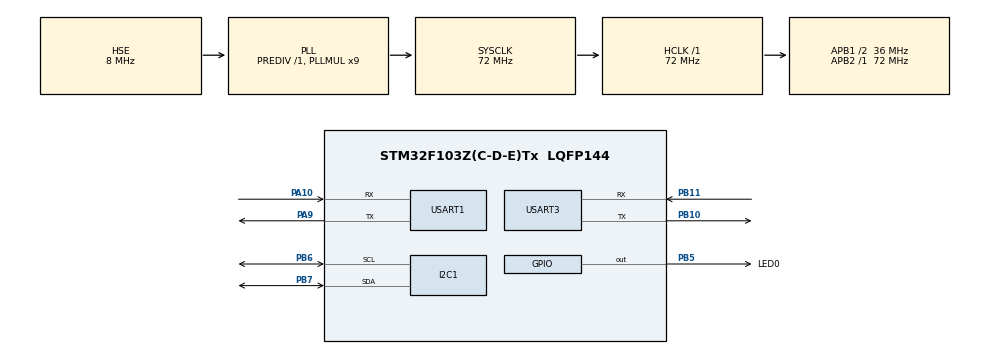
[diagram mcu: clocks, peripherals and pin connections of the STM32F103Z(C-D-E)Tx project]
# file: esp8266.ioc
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I2C1.I2C_Mode=I2C_Fast
Mcu.Family=STM32F1
Mcu.Name=STM32F103Z(C-D-E)Tx
Mcu.Package=LQFP144
NVIC.PriorityGroup=NVIC_PRIORITYGROUP_4
NVIC.USART1_IRQn=true\:0\:0\:false\:false\:true\:true\:true\:true
NVIC.USART3_IRQn=true\:0\:0\:false\:false\:true\:true\:true\:true
OSC_IN.Mode=HSE-External-Oscillator
OSC_IN.Signal=RCC_OSC_IN
OSC_OUT.Mode=HSE-External-Oscillator
OSC_OUT.Signal=RCC_OSC_OUT
PA10.Mode=Asynchronous
PA10.Signal=USART1_RX
PA13.Mode=Serial_Wire
PA13.Signal=SYS_JTMS-SWDIO
PA14.Mode=Serial_Wire
PA14.Signal=SYS_JTCK-SWCLK
PA9.Mode=Asynchronous
PA9.Signal=USART1_TX
PB10.Mode=Asynchronous
PB10.Signal=USART3_TX
PB11.Mode=Asynchronous
PB11.Signal=USART3_RX
PB5.GPIO_Label=LED0
PB5.GPIO_PuPd=GPIO_PULLUP
PB5.GPIO_Speed=GPIO_SPEED_FREQ_HIGH
PB5.PinState=GPIO_PIN_SET
PB5.Signal=GPIO_Output
PB6.Mode=I2C
PB6.Signal=I2C1_SCL
PB7.Mode=I2C
PB7.Signal=I2C1_SDA
ProjectManager.HeapSize=0x200
ProjectManager.StackSize=0x400
ProjectManager.TargetToolchain=Makefile
RCC.AHBFreq_Value=72000000
RCC.APB1CLKDivider=RCC_HCLK_DIV2
RCC.APB1Freq_Value=36000000
RCC.APB1TimFreq_Value=72000000
RCC.APB2Freq_Value=72000000
RCC.APB2TimFreq_Value=72000000
RCC.HCLKFreq_Value=72000000
RCC.PLLMUL=RCC_PLL_MUL9
RCC.PLLSourceVirtual=RCC_PLLSOURCE_HSE
RCC.SYSCLKFreq_VALUE=72000000
RCC.SYSCLKSource=RCC_SYSCLKSOURCE_PLLCLK
RCC.USBFreq_Value=72000000
USART1.VirtualMode=VM_ASYNC
USART3.VirtualMode=VM_ASYNC
board=custom

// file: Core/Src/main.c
/* USER CODE BEGIN Header */
/**
 ******************************************************************************
 * @file           : main.c
 * @brief          : Main program body
 ******************************************************************************
 * @attention
 *
 * Copyright (c) 2025 STMicroelectronics.
 * All rights reserved.
 *
 * This software is licensed under terms that can be found in the LICENSE file
 * in the root directory of this software component.
 * If no LICENSE file comes with this software, it is provided AS-IS.
 *
 ******************************************************************************
 */
/* USER CODE END Header */
#include "main.h"
#include "i2c.h"
#include "usart.h"
#include "gpio.h"

/* USER CODE BEGIN PTD */
volatile uint16_t command_index = 0;
/* USER CODE END PTD */

void SystemClock_Config(void);

/* USER CODE BEGIN 0 */
void uart3_send(const char *data)
{
  HAL_UART_Transmit(&huart3, (uint8_t *)data, strlen(data), HAL_MAX_DELAY);
}

void handle_uart3_response()
{
  static uint16_t last_head = 0;
  static char temp_buffer[256];
  static int temp_pos = 0;

  static int expected_length = -1; // -1表示没开始接收
  static char tcp_payload[128];
  static int tcp_payload_pos = 0;

  while (last_head != uart3_rx_head)
  {
    char ch = uart3_rx_buffer[last_head++];
    if (last_head >= UART3_RX_BUFFER_SIZE)
      last_head = 0;

    HAL_UART_Transmit(&huart1, (uint8_t *)&ch, 1, 10); // 原样转发

    // 收集到临时缓存
    if (temp_pos < sizeof(temp_buffer) - 1)
    {
      temp_buffer[temp_pos++] = ch;
      temp_buffer[temp_pos] = '\0';
    }
    else
    {
      temp_pos = 0;
    }

    // 如果还没识别出+IPD
    if (expected_length == -1)
    {
      char *ipd_ptr = strstr(temp_buffer, "+IPD,");
      if (ipd_ptr)
      {
        // 查找冒号
        char *colon = strchr(ipd_ptr, ':');
        if (colon)
        {
          // 解析长度字段
          int len = 0;
          sscanf(ipd_ptr + 5, "%d", &len);

          expected_length = len;
          tcp_payload_pos = 0;

          // 如果冒号后已经带了部分数据
          // int already_have = temp_pos - (colon - temp_buffer + 1);
          // if (already_have > 0)
          // {
          //   for (int i = 0; i < already_have && tcp_payload_pos < sizeof(tcp_payload) - 1; i++)
          //   {
          //     tcp_payload[tcp_payload_pos++] = colon[1 + i];
          //   }
          // }
        }
      }
    }
    else
    {
      // 正在接收数据正文
      if (tcp_payload_pos < expected_length)
      {
        tcp_payload[tcp_payload_pos++] = ch;
      }

      // 收满了
      if (tcp_payload_pos >= expected_length)
      {
        tcp_payload[tcp_payload_pos] = '\0';

        // 显示到OLED
        OLED_Clear();
        OLED_ShowString(0, 0, (uint8_t *)tcp_payload, strlen(tcp_payload));

        // 清理
        expected_length = -1;
        temp_pos = 0;
        memset(temp_buffer, 0, sizeof(temp_buffer));
      }
    }
  }
}

int send_tcp_data(const char *data)
{
  char cmd[128];

  sprintf(cmd, "AT+CIPSEND=%d", strlen(data));

  // 先发送长度指令
  send_AT_command(cmd);

  // 等待 '>' 提示符
  if (!wait_for_response(">", 1000))
    return 0;

  HAL_Delay(100);
  // 发送实际数据
  HAL_UART_Transmit(&huart3, (uint8_t *)data, strlen(data), HAL_MAX_DELAY);

  // 等待发送完成
  if (!wait_for_response("SEND OK", 2000))
    return 0;

  return 1;
}

void send_AT_command(const char *command)
{
  HAL_UART_Transmit(&huart3, (uint8_t *)command, strlen(command), 1000);
  HAL_UART_Transmit(&huart3, (uint8_t *)"\r\n", 2, 1000);
}

int wait_for_response(const char *expected_response, uint32_t timeout)
{
  uint32_t tickstart = HAL_GetTick();
  uint16_t check_pos = 0; // 上次缓冲区检查到的位置

  while ((HAL_GetTick() - tickstart) < timeout)
  {
    // 判断缓冲区是否有新数
    if (check_pos != uart3_rx_head)
    {

      char temp_buffer[UART3_RX_BUFFER_SIZE];
      uint16_t temp_idx = 0;
      uint16_t i = check_pos;

      while (i != uart3_rx_head && temp_idx < sizeof(temp_buffer) - 1)
      {
        temp_buffer[temp_idx++] = uart3_rx_buffer[i++];
        if (i >= UART3_RX_BUFFER_SIZE)
          i = 0; // 环形缓冲处理
      }
      temp_buffer[temp_idx] = '\0';

      if (strstr(temp_buffer, expected_response) != NULL)
      {
        return 1; // 找到预期响应
      }

      check_pos = uart3_rx_head; // 更新位置继续等待
    }
  }

  return 0;
}

void handle_uart1_input()
{
  static char input_line[UART1_RX_BUFFER_SIZE];
  static int input_pos = 0;
  static int oled_current_line = 0;
  while (command_index != uart1_rx_head)
  {
    char ch = uart1_rx_buffer[command_index++];
    if (command_index >= UART1_RX_BUFFER_SIZE)
      command_index = 0;

    if (ch == '\r' || ch == '\n')
    {
      if (input_pos > 0)
      {
        input_line[input_pos] = '\0';

        // 直接发送输入的内容，不用判断前缀
        send_tcp_data(input_line);
        input_pos = 0;
      }
    }
    else if (input_pos < sizeof(input_line) - 1)
    {
      input_line[input_pos++] = ch;
    }
  }
}

/* USER CODE END 0 */

int main(void)
{

  /* MCU Configuration--------------------------------------------------------*/

  /* Reset of all peripherals, Initializes the Flash interface and the Systick. */
  HAL_Init();

  /* Configure the system clock */
  SystemClock_Config();

  /* USER CODE BEGIN SysInit */
  __HAL_RCC_AFIO_CLK_ENABLE();
  /* USER CODE END SysInit */

  /* Initialize all configured peripherals */
  MX_GPIO_Init();
  MX_USART1_UART_Init();
  MX_USART3_UART_Init();
  MX_I2C1_Init();
  uint8_t A[] = "TCP connected!!";
  // 初始化oled屏幕
  OLED_Init();
  // 开启OLED显示
  OLED_Display_On();
  // 清屏
  OLED_Clear();

  /* USER CODE BEGIN 2 */

  send_AT_command("ATE0");
  send_AT_command("AT+CWJAP=\"WHLD\",\"WHLDADMIN\"");
  HAL_Delay(2000);

  send_AT_command("AT+CWAUTOCONN=1");
  HAL_Delay(2000);

  int connected = 0;
  while (!connected)
  {
    send_AT_command("AT+CIPSTART=\"TCP\",\"192.168.50.187\",81");
    connected = wait_for_response("OK", 5000);
    if (connected)
    {
      HAL_GPIO_WritePin(LED0_GPIO_Port, LED0_Pin, GPIO_PIN_RESET);
      OLED_ShowString(0, 0, A, sizeof(A));
      HAL_Delay(5000);
      OLED_Clear();
    }
    else
    {
      for (int i = 0; i < 5; i++)
      {
        HAL_GPIO_TogglePin(LED0_GPIO_Port, LED0_Pin);
        HAL_Delay(500);
      }
      HAL_GPIO_WritePin(LED0_GPIO_Port, LED0_Pin, GPIO_PIN_SET);
      HAL_Delay(1000);
    }
  }

  send_AT_command("AT+CIPDINFO=1");
  HAL_Delay(500);

  const char *data = "Hello\r\n"; // 7字节数据
  char send_cmd[20];
  sprintf(send_cmd, "AT+CIPSEND=%d", strlen(data));
  send_AT_command(send_cmd);
  if (wait_for_response(">", 1000))
  {
    HAL_UART_Transmit(&huart3, (uint8_t *)data, strlen(data), 1000);
  }
  /* USER CODE END 2 */

  /* Infinite loop */
  /* USER CODE BEGIN WHILE */
  while (1)
  {
    handle_uart1_input();    // 处理上位机命令
    handle_uart3_response(); // 处理ESP8266响应
    /* USER CODE END WHILE */

  }
}

void SystemClock_Config(void)
{
  RCC_OscInitTypeDef RCC_OscInitStruct = {0};
  RCC_ClkInitTypeDef RCC_ClkInitStruct = {0};

  /** Initializes the RCC Oscillators according to the specified parameters
   * in the RCC_OscInitTypeDef structure.
   */
  RCC_OscInitStruct.OscillatorType = RCC_OSCILLATORTYPE_HSE;
  RCC_OscInitStruct.HSEState = RCC_HSE_ON;
  RCC_OscInitStruct.HSEPredivValue = RCC_HSE_PREDIV_DIV1;
  RCC_OscInitStruct.HSIState = RCC_HSI_ON;
  RCC_OscInitStruct.PLL.PLLState = RCC_PLL_ON;
  RCC_OscInitStruct.PLL.PLLSource = RCC_PLLSOURCE_HSE;
  RCC_OscInitStruct.PLL.PLLMUL = RCC_PLL_MUL9;
  if (HAL_RCC_OscConfig(&RCC_OscInitStruct) != HAL_OK)
  {
    Error_Handler();
  }

  /** Initializes the CPU, AHB and APB buses clocks
   */
  RCC_ClkInitStruct.ClockType = RCC_CLOCKTYPE_HCLK | RCC_CLOCKTYPE_SYSCLK | RCC_CLOCKTYPE_PCLK1 | RCC_CLOCKTYPE_PCLK2;
  RCC_ClkInitStruct.SYSCLKSource = RCC_SYSCLKSOURCE_PLLCLK;
  RCC_ClkInitStruct.AHBCLKDivider = RCC_SYSCLK_DIV1;
  RCC_ClkInitStruct.APB1CLKDivider = RCC_HCLK_DIV2;
  RCC_ClkInitStruct.APB2CLKDivider = RCC_HCLK_DIV1;

  if (HAL_RCC_ClockConfig(&RCC_ClkInitStruct, FLASH_LATENCY_2) != HAL_OK)
  {
    Error_Handler();
  }
}

void Error_Handler(void)
{
  __disable_irq();
  while (1)
  {
  }
}
